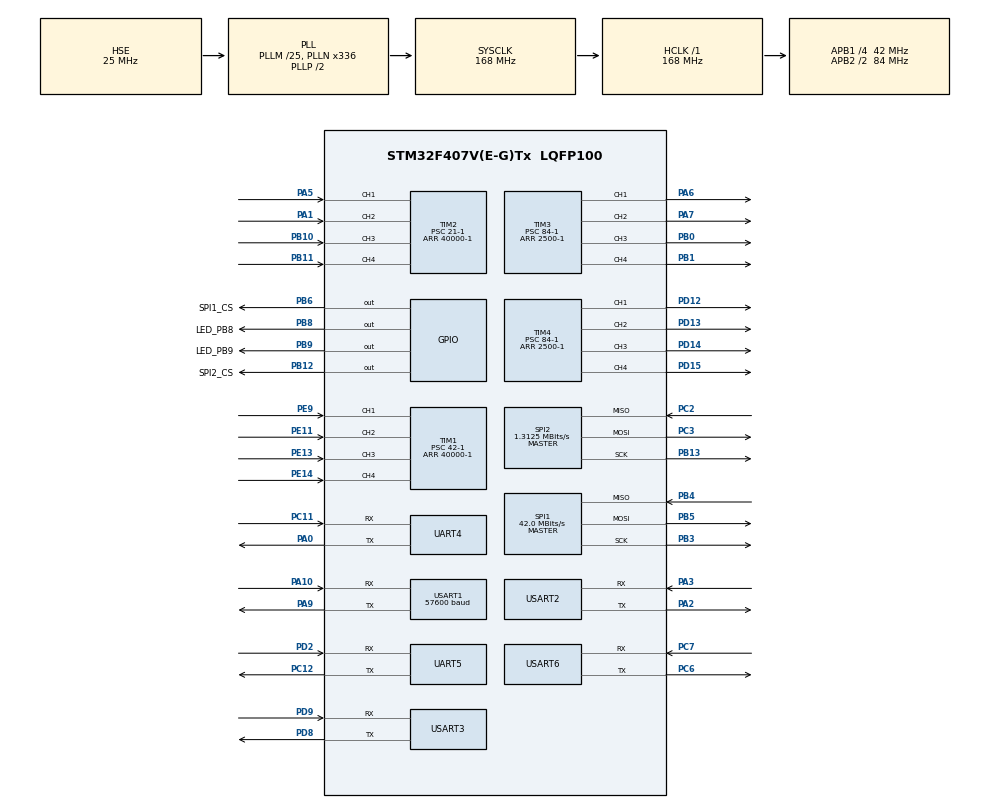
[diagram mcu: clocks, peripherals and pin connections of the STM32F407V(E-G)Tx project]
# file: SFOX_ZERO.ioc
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Dma.Request0=SPI1_RX
Dma.Request1=SPI1_TX
Dma.Request2=USART3_TX
Dma.Request3=USART6_TX
Dma.Request4=UART4_TX
Dma.Request5=UART5_TX
Dma.Request6=USART1_TX
Dma.Request7=USART2_TX
Dma.SPI1_RX.0.Direction=DMA_PERIPH_TO_MEMORY
Dma.SPI1_RX.0.FIFOMode=DMA_FIFOMODE_DISABLE
Dma.SPI1_RX.0.Instance=DMA2_Stream0
Dma.SPI1_RX.0.MemDataAlignment=DMA_MDATAALIGN_BYTE
Dma.SPI1_RX.0.MemInc=DMA_MINC_ENABLE
Dma.SPI1_RX.0.Mode=DMA_NORMAL
Dma.SPI1_RX.0.PeriphDataAlignment=DMA_PDATAALIGN_BYTE
Dma.SPI1_RX.0.PeriphInc=DMA_PINC_DISABLE
Dma.SPI1_RX.0.Priority=DMA_PRIORITY_HIGH
Dma.SPI1_TX.1.Direction=DMA_MEMORY_TO_PERIPH
Dma.SPI1_TX.1.FIFOMode=DMA_FIFOMODE_DISABLE
Dma.SPI1_TX.1.Instance=DMA2_Stream3
Dma.SPI1_TX.1.MemDataAlignment=DMA_MDATAALIGN_BYTE
Dma.SPI1_TX.1.MemInc=DMA_MINC_ENABLE
Dma.SPI1_TX.1.Mode=DMA_NORMAL
Dma.SPI1_TX.1.PeriphDataAlignment=DMA_PDATAALIGN_BYTE
Dma.SPI1_TX.1.PeriphInc=DMA_PINC_DISABLE
Dma.SPI1_TX.1.Priority=DMA_PRIORITY_LOW
Dma.UART4_TX.4.Direction=DMA_MEMORY_TO_PERIPH
Dma.UART4_TX.4.FIFOMode=DMA_FIFOMODE_DISABLE
Dma.UART4_TX.4.Instance=DMA1_Stream4
Dma.UART4_TX.4.MemDataAlignment=DMA_MDATAALIGN_BYTE
Dma.UART4_TX.4.MemInc=DMA_MINC_ENABLE
Dma.UART4_TX.4.Mode=DMA_NORMAL
Dma.UART4_TX.4.PeriphDataAlignment=DMA_PDATAALIGN_BYTE
Dma.UART4_TX.4.PeriphInc=DMA_PINC_DISABLE
Dma.UART4_TX.4.Priority=DMA_PRIORITY_LOW
Dma.UART5_TX.5.Direction=DMA_MEMORY_TO_PERIPH
Dma.UART5_TX.5.FIFOMode=DMA_FIFOMODE_DISABLE
Dma.UART5_TX.5.Instance=DMA1_Stream7
Dma.UART5_TX.5.MemDataAlignment=DMA_MDATAALIGN_BYTE
Dma.UART5_TX.5.MemInc=DMA_MINC_ENABLE
Dma.UART5_TX.5.Mode=DMA_NORMAL
Dma.UART5_TX.5.PeriphDataAlignment=DMA_PDATAALIGN_BYTE
Dma.UART5_TX.5.PeriphInc=DMA_PINC_DISABLE
Dma.UART5_TX.5.Priority=DMA_PRIORITY_LOW
Dma.USART1_TX.6.Direction=DMA_MEMORY_TO_PERIPH
Dma.USART1_TX.6.FIFOMode=DMA_FIFOMODE_DISABLE
Dma.USART1_TX.6.Instance=DMA2_Stream7
Dma.USART1_TX.6.MemDataAlignment=DMA_MDATAALIGN_BYTE
Dma.USART1_TX.6.MemInc=DMA_MINC_ENABLE
Dma.USART1_TX.6.Mode=DMA_NORMAL
Dma.USART1_TX.6.PeriphDataAlignment=DMA_PDATAALIGN_BYTE
Dma.USART1_TX.6.PeriphInc=DMA_PINC_DISABLE
Dma.USART1_TX.6.Priority=DMA_PRIORITY_LOW
Dma.USART2_TX.7.Direction=DMA_MEMORY_TO_PERIPH
Dma.USART2_TX.7.FIFOMode=DMA_FIFOMODE_DISABLE
Dma.USART2_TX.7.Instance=DMA1_Stream6
Dma.USART2_TX.7.MemDataAlignment=DMA_MDATAALIGN_BYTE
Dma.USART2_TX.7.MemInc=DMA_MINC_ENABLE
Dma.USART2_TX.7.Mode=DMA_NORMAL
Dma.USART2_TX.7.PeriphDataAlignment=DMA_PDATAALIGN_BYTE
Dma.USART2_TX.7.PeriphInc=DMA_PINC_DISABLE
Dma.USART2_TX.7.Priority=DMA_PRIORITY_LOW
Dma.USART3_TX.2.Direction=DMA_MEMORY_TO_PERIPH
Dma.USART3_TX.2.FIFOMode=DMA_FIFOMODE_DISABLE
Dma.USART3_TX.2.Instance=DMA1_Stream3
Dma.USART3_TX.2.MemDataAlignment=DMA_MDATAALIGN_BYTE
Dma.USART3_TX.2.MemInc=DMA_MINC_ENABLE
Dma.USART3_TX.2.Mode=DMA_NORMAL
Dma.USART3_TX.2.PeriphDataAlignment=DMA_PDATAALIGN_BYTE
Dma.USART3_TX.2.PeriphInc=DMA_PINC_DISABLE
Dma.USART3_TX.2.Priority=DMA_PRIORITY_LOW
Dma.USART6_TX.3.Direction=DMA_MEMORY_TO_PERIPH
Dma.USART6_TX.3.FIFOMode=DMA_FIFOMODE_DISABLE
Dma.USART6_TX.3.Instance=DMA2_Stream6
Dma.USART6_TX.3.MemDataAlignment=DMA_MDATAALIGN_BYTE
Dma.USART6_TX.3.MemInc=DMA_MINC_ENABLE
Dma.USART6_TX.3.Mode=DMA_NORMAL
Dma.USART6_TX.3.PeriphDataAlignment=DMA_PDATAALIGN_BYTE
Dma.USART6_TX.3.PeriphInc=DMA_PINC_DISABLE
Dma.USART6_TX.3.Priority=DMA_PRIORITY_LOW
FREERTOS.BinarySemaphores01=myBinarySem01MPU9250GyroAccCalibrateOffset,Dynamic,NULL;myBinarySem02LED1ON,Dynamic,NULL;myBinarySem03LED2ON,Dynamic,NULL;myBinarySem05LED1Pulsate,Dynamic,NULL;myBinarySem06LED2Pulsate,Dynamic,NULL;myBinarySem04MPU9250MagCalibrate,Dynamic,NULL;myBinarySem07GPSUpdate,Dynamic,NULL
FREERTOS.INCLUDE_vTaskDelayUntil=1
FREERTOS.Queues01=myQueue02GPSM8NToIns,1,uint32_t,0,Dynamic,NULL,NULL
FREERTOS.Tasks01=defaultTask,-3,128,StartDefaultTask,Default,NULL,Dynamic,NULL,NULL;myTask02Normal,0,512,StartTask02Normal,Default,NULL,Dynamic,NULL,NULL;myTask01RealTim,1,2048,StartTask01RealTime,Default,NULL,Dynamic,NULL,NULL;myTask03LED,-3,128,StartTask03LED,Default,NULL,Dynamic,NULL,NULL;myTask04COM,-3,128,StartTask04COM,Default,NULL,Dynamic,NULL,NULL;myTask05IMU,2,128,StartTask05IMU,Default,NULL,Dynamic,NULL,NULL;myTask06IMUAUX,-3,128,StartTask06IMUAUX,Default,NULL,Dynamic,NULL,NULL
FREERTOS.configUSE_COUNTING_SEMAPHORES=1
FREERTOS.configUSE_IDLE_HOOK=1
FREERTOS.configUSE_TICK_HOOK=1
Mcu.Family=STM32F4
Mcu.Name=STM32F407V(E-G)Tx
Mcu.Package=LQFP100
NVIC.DMA1_Stream3_IRQn=true\:5\:0\:false\:false\:true\:true\:false
NVIC.DMA1_Stream4_IRQn=true\:5\:0\:false\:false\:true\:true\:false
NVIC.DMA1_Stream6_IRQn=true\:5\:0\:false\:false\:true\:true\:false
NVIC.DMA1_Stream7_IRQn=true\:5\:0\:false\:false\:true\:true\:false
NVIC.DMA2_Stream0_IRQn=true\:5\:0\:false\:false\:true\:true\:false
NVIC.DMA2_Stream3_IRQn=true\:5\:0\:false\:false\:true\:true\:false
NVIC.DMA2_Stream6_IRQn=true\:5\:0\:false\:false\:true\:true\:false
NVIC.DMA2_Stream7_IRQn=true\:5\:0\:false\:false\:true\:true\:false
NVIC.PriorityGroup=NVIC_PRIORITYGROUP_4
NVIC.SPI1_IRQn=true\:5\:0\:false\:false\:true\:true\:true
NVIC.TIM1_CC_IRQn=true\:5\:0\:false\:false\:true\:true\:true
NVIC.TIM2_IRQn=true\:5\:0\:false\:false\:true\:true\:true
NVIC.TIM8_UP_TIM13_IRQn=true\:0\:0\:false\:false\:true\:false\:false
NVIC.TimeBase=TIM8_UP_TIM13_IRQn
NVIC.TimeBaseIP=TIM8
NVIC.UART4_IRQn=true\:5\:0\:false\:false\:true\:true\:true
NVIC.UART5_IRQn=true\:5\:0\:false\:false\:true\:true\:true
NVIC.USART1_IRQn=true\:5\:0\:true\:false\:true\:true\:true
NVIC.USART2_IRQn=true\:5\:0\:false\:false\:true\:true\:true
NVIC.USART3_IRQn=true\:5\:0\:false\:false\:true\:true\:true
NVIC.USART6_IRQn=true\:5\:0\:false\:false\:true\:true\:true
PA0-WKUP.Mode=Asynchronous
PA0-WKUP.Signal=UART4_TX
PA1.GPIO_PuPd=GPIO_PULLDOWN
PA1.GPIO_Speed=GPIO_SPEED_FREQ_VERY_HIGH
PA1.Signal=S_TIM2_CH2
PA10.Mode=Asynchronous
PA10.Signal=USART1_RX
PA13.Mode=Serial_Wire
PA13.Signal=SYS_JTMS-SWDIO
PA14.Mode=Serial_Wire
PA14.Signal=SYS_JTCK-SWCLK
PA2.Mode=Asynchronous
PA2.Signal=USART2_TX
PA3.Mode=Asynchronous
PA3.Signal=USART2_RX
PA5.GPIO_PuPd=GPIO_PULLDOWN
PA5.GPIO_Speed=GPIO_SPEED_FREQ_VERY_HIGH
PA5.Signal=S_TIM2_CH1_ETR
PA6.GPIO_Speed=GPIO_SPEED_FREQ_VERY_HIGH
PA6.Signal=S_TIM3_CH1
PA7.GPIO_Speed=GPIO_SPEED_FREQ_VERY_HIGH
PA7.Signal=S_TIM3_CH2
PA9.Mode=Asynchronous
PA9.Signal=USART1_TX
PB0.GPIO_Speed=GPIO_SPEED_FREQ_VERY_HIGH
PB0.Signal=S_TIM3_CH3
PB1.GPIO_Speed=GPIO_SPEED_FREQ_VERY_HIGH
PB1.Signal=S_TIM3_CH4
PB10.GPIO_PuPd=GPIO_PULLDOWN
PB10.GPIO_Speed=GPIO_SPEED_FREQ_VERY_HIGH
PB10.Signal=S_TIM2_CH3
PB11.GPIO_PuPd=GPIO_PULLDOWN
PB11.GPIO_Speed=GPIO_SPEED_FREQ_VERY_HIGH
PB11.Signal=S_TIM2_CH4
PB12.GPIO_Label=SPI2_CS
PB12.Signal=GPIO_Output
PB13.Mode=Full_Duplex_Master
PB13.Signal=SPI2_SCK
PB3.Mode=Full_Duplex_Master
PB3.Signal=SPI1_SCK
PB4.Mode=Full_Duplex_Master
PB4.Signal=SPI1_MISO
PB5.Mode=Full_Duplex_Master
PB5.Signal=SPI1_MOSI
PB6.GPIO_Label=SPI1_CS
PB6.Signal=GPIO_Output
PB8.GPIO_Label=LED_PB8
PB8.Signal=GPIO_Output
PB9.GPIO_Label=LED_PB9
PB9.Signal=GPIO_Output
PC11.Mode=Asynchronous
PC11.Signal=UART4_RX
PC12.Mode=Asynchronous
PC12.Signal=UART5_TX
PC2.Mode=Full_Duplex_Master
PC2.Signal=SPI2_MISO
PC3.Mode=Full_Duplex_Master
PC3.Signal=SPI2_MOSI
PC6.Mode=Asynchronous
PC6.Signal=USART6_TX
PC7.Mode=Asynchronous
PC7.Signal=USART6_RX
PD12.Signal=S_TIM4_CH1
PD13.Signal=S_TIM4_CH2
PD14.Signal=S_TIM4_CH3
PD15.Signal=S_TIM4_CH4
PD2.Mode=Asynchronous
PD2.Signal=UART5_RX
PD8.Mode=Asynchronous
PD8.Signal=USART3_TX
PD9.Mode=Asynchronous
PD9.Signal=USART3_RX
PE11.GPIO_PuPd=GPIO_PULLDOWN
PE11.GPIO_Speed=GPIO_SPEED_FREQ_VERY_HIGH
PE11.Signal=S_TIM1_CH2
PE13.GPIO_PuPd=GPIO_PULLDOWN
PE13.GPIO_Speed=GPIO_SPEED_FREQ_VERY_HIGH
PE13.Signal=S_TIM1_CH3
PE14.GPIO_PuPd=GPIO_PULLDOWN
PE14.GPIO_Speed=GPIO_SPEED_FREQ_VERY_HIGH
PE14.Signal=S_TIM1_CH4
PE9.GPIO_PuPd=GPIO_PULLDOWN
PE9.GPIO_Speed=GPIO_SPEED_FREQ_VERY_HIGH
PE9.Signal=S_TIM1_CH1
PH0-OSC_IN.Mode=HSE-External-Oscillator
PH0-OSC_IN.Signal=RCC_OSC_IN
PH1-OSC_OUT.Mode=HSE-External-Oscillator
PH1-OSC_OUT.Signal=RCC_OSC_OUT
ProjectManager.HeapSize=0x15000
ProjectManager.StackSize=0x600
ProjectManager.TargetToolchain=EWARM
RCC.48MHZClocksFreq_Value=84000000
RCC.AHBFreq_Value=168000000
RCC.APB1CLKDivider=RCC_HCLK_DIV4
RCC.APB1Freq_Value=42000000
RCC.APB1TimFreq_Value=84000000
RCC.APB2CLKDivider=RCC_HCLK_DIV2
RCC.APB2Freq_Value=84000000
RCC.APB2TimFreq_Value=168000000
RCC.CortexFreq_Value=168000000
RCC.EnbaleCSS=true
RCC.HCLKFreq_Value=168000000
RCC.HSE_VALUE=25000000
RCC.HSI_VALUE=16000000
RCC.LSE_VALUE=32768
RCC.PLLM=25
RCC.PLLN=336
RCC.PLLSourceVirtual=RCC_PLLSOURCE_HSE
RCC.SYSCLKFreq_VALUE=168000000
RCC.SYSCLKSource=RCC_SYSCLKSOURCE_PLLCLK
RCC.VCOOutputFreq_Value=336000000
SH.S_TIM1_CH1.0=TIM1_CH1,Input_Capture1_from_TI1
SH.S_TIM1_CH2.0=TIM1_CH2,Input_Capture2_from_TI2
SH.S_TIM1_CH3.0=TIM1_CH3,Input_Capture3_from_TI3
SH.S_TIM1_CH4.0=TIM1_CH4,Input_Capture4_from_TI4
SH.S_TIM2_CH1_ETR.0=TIM2_CH1,Input_Capture1_from_TI1
SH.S_TIM2_CH2.0=TIM2_CH2,Input_Capture2_from_TI2
SH.S_TIM2_CH3.0=TIM2_CH3,Input_Capture3_from_TI3
SH.S_TIM2_CH4.0=TIM2_CH4,Input_Capture4_from_TI4
SH.S_TIM3_CH1.0=TIM3_CH1,PWM Generation1 CH1
SH.S_TIM3_CH2.0=TIM3_CH2,PWM Generation2 CH2
SH.S_TIM3_CH3.0=TIM3_CH3,PWM Generation3 CH3
SH.S_TIM3_CH4.0=TIM3_CH4,PWM Generation4 CH4
SH.S_TIM4_CH1.0=TIM4_CH1,PWM Generation1 CH1
SH.S_TIM4_CH2.0=TIM4_CH2,PWM Generation2 CH2
SH.S_TIM4_CH3.0=TIM4_CH3,PWM Generation3 CH3
SH.S_TIM4_CH4.0=TIM4_CH4,PWM Generation4 CH4
SPI1.BaudRatePrescaler=SPI_BAUDRATEPRESCALER_2
SPI1.CalculateBaudRate=42.0 MBits/s
SPI1.Direction=SPI_DIRECTION_2LINES
SPI1.Mode=SPI_MODE_MASTER
SPI1.VirtualType=VM_MASTER
SPI2.BaudRatePrescaler=SPI_BAUDRATEPRESCALER_32
SPI2.CalculateBaudRate=1.3125 MBits/s
SPI2.Direction=SPI_DIRECTION_2LINES
SPI2.Mode=SPI_MODE_MASTER
SPI2.VirtualType=VM_MASTER
TIM1.Channel-Input_Capture1_from_TI1=TIM_CHANNEL_1
TIM1.Channel-Input_Capture2_from_TI2=TIM_CHANNEL_2
TIM1.Channel-Input_Capture3_from_TI3=TIM_CHANNEL_3
TIM1.Channel-Input_Capture4_from_TI4=TIM_CHANNEL_4
TIM1.ICPolarity_CH1=TIM_INPUTCHANNELPOLARITY_BOTHEDGE
TIM1.ICPolarity_CH2=TIM_INPUTCHANNELPOLARITY_BOTHEDGE
TIM1.ICPolarity_CH3=TIM_INPUTCHANNELPOLARITY_BOTHEDGE
TIM1.ICPolarity_CH4=TIM_INPUTCHANNELPOLARITY_BOTHEDGE
TIM1.Period=40000-1
TIM1.Prescaler=42-1
TIM2.Channel-Input_Capture1_from_TI1=TIM_CHANNEL_1
TIM2.Channel-Input_Capture2_from_TI2=TIM_CHANNEL_2
TIM2.Channel-Input_Capture3_from_TI3=TIM_CHANNEL_3
TIM2.Channel-Input_Capture4_from_TI4=TIM_CHANNEL_4
TIM2.ICPolarity_CH1=TIM_INPUTCHANNELPOLARITY_BOTHEDGE
TIM2.ICPolarity_CH2=TIM_INPUTCHANNELPOLARITY_BOTHEDGE
TIM2.ICPolarity_CH3=TIM_INPUTCHANNELPOLARITY_BOTHEDGE
TIM2.ICPolarity_CH4=TIM_INPUTCHANNELPOLARITY_BOTHEDGE
TIM2.Period=40000-1
TIM2.Prescaler=21-1
TIM3.Channel-PWM\ Generation1\ CH1=TIM_CHANNEL_1
TIM3.Channel-PWM\ Generation2\ CH2=TIM_CHANNEL_2
TIM3.Channel-PWM\ Generation3\ CH3=TIM_CHANNEL_3
TIM3.Channel-PWM\ Generation4\ CH4=TIM_CHANNEL_4
TIM3.Period=2500-1
TIM3.Prescaler=84-1
TIM4.Channel-PWM\ Generation1\ CH1=TIM_CHANNEL_1
TIM4.Channel-PWM\ Generation2\ CH2=TIM_CHANNEL_2
TIM4.Channel-PWM\ Generation3\ CH3=TIM_CHANNEL_3
TIM4.Channel-PWM\ Generation4\ CH4=TIM_CHANNEL_4
TIM4.Period=2500-1
TIM4.Prescaler=84-1
UART4.VirtualMode=Asynchronous
UART5.VirtualMode=Asynchronous
USART1.BaudRate=57600
USART1.VirtualMode=VM_ASYNC
USART2.VirtualMode=VM_ASYNC
USART3.VirtualMode=VM_ASYNC
USART6.VirtualMode=VM_ASYNC
VP_FREERTOS_VS_ENABLE.Mode=Enabled
VP_SYS_VS_tim8.Mode=TIM8
board=SFOX_ZERO

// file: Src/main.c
/**
  ******************************************************************************
  * @file           : main.c
  * @brief          : Main program body
  ******************************************************************************
  * This notice applies to any and all portions of this file
  * that are not between comment pairs USER CODE BEGIN and
  * USER CODE END. Other portions of this file, whether
  * inserted by the user or by software development tools
  * are owned by their respective copyright owners.
  *
  * Copyright (c) 2018 STMicroelectronics International N.V.
  * All rights reserved.
  *
  * Redistribution and use in source and binary forms, with or without
  * modification, are permitted, provided that the following conditions are met:
  *
  * 1. Redistribution of source code must retain the above copyright notice,
  *    this list of conditions and the following disclaimer.
  * 2. Redistributions in binary form must reproduce the above copyright notice,
  *    this list of conditions and the following disclaimer in the documentation
  *    and/or other materials provided with the distribution.
  * 3. Neither the name of STMicroelectronics nor the names of other
  *    contributors to this software may be used to endorse or promote products
  *    derived from this software without specific written permission.
  * 4. This software, including modifications and/or derivative works of this
  *    software, must execute solely and exclusively on microcontroller or
  *    microprocessor devices manufactured by or for STMicroelectronics.
  * 5. Redistribution and use of this software other than as permitted under
  *    this license is void and will automatically terminate your rights under
  *    this license.
  *
  * THIS SOFTWARE IS PROVIDED BY STMICROELECTRONICS AND CONTRIBUTORS "AS IS"
  * AND ANY EXPRESS, IMPLIED OR STATUTORY WARRANTIES, INCLUDING, BUT NOT
  * LIMITED TO, THE IMPLIED WARRANTIES OF MERCHANTABILITY, FITNESS FOR A
  * PARTICULAR PURPOSE AND NON-INFRINGEMENT OF THIRD PARTY INTELLECTUAL PROPERTY
  * RIGHTS ARE DISCLAIMED TO THE FULLEST EXTENT PERMITTED BY LAW. IN NO EVENT
  * SHALL STMICROELECTRONICS OR CONTRIBUTORS BE LIABLE FOR ANY DIRECT, INDIRECT,
  * INCIDENTAL, SPECIAL, EXEMPLARY, OR CONSEQUENTIAL DAMAGES (INCLUDING, BUT NOT
  * LIMITED TO, PROCUREMENT OF SUBSTITUTE GOODS OR SERVICES; LOSS OF USE, DATA,
  * OR PROFITS; OR BUSINESS INTERRUPTION) HOWEVER CAUSED AND ON ANY THEORY OF
  * LIABILITY, WHETHER IN CONTRACT, STRICT LIABILITY, OR TORT (INCLUDING
  * NEGLIGENCE OR OTHERWISE) ARISING IN ANY WAY OUT OF THE USE OF THIS SOFTWARE,
  * EVEN IF ADVISED OF THE POSSIBILITY OF SUCH DAMAGE.
  *
  ******************************************************************************
  */
#include "main.h"
#include "stm32f4xx_hal.h"
#include "cmsis_os.h"
#include "dma.h"
#include "spi.h"
#include "tim.h"
#include "usart.h"
#include "gpio.h"

/* USER CODE BEGIN Includes */
#include "mpu9250.h"
#include "ms5803.h"
#include "RC_PWM.h"
#include "app_ano.h"
#include "usart_cfg.h"
#include "app_led.h"
#include "flash_on_chip.h"
#include "motor_pwm.h"
/* USER CODE END Includes */

/* USER CODE BEGIN PV */
/* Private variables ---------------------------------------------------------*/

/* USER CODE END PV */

void SystemClock_Config(void);
void MX_FREERTOS_Init(void);

/* USER CODE BEGIN PFP */
/* Private function prototypes -----------------------------------------------*/

/* USER CODE END PFP */

int main(void)
{

  /* MCU Configuration----------------------------------------------------------*/

  /* Reset of all peripherals, Initializes the Flash interface and the Systick. */
  HAL_Init();

  /* Configure the system clock */
  SystemClock_Config();

  /* Initialize all configured peripherals */
  MX_GPIO_Init();
  MX_DMA_Init();
  MX_SPI1_Init();
  MX_SPI2_Init();
  MX_TIM1_Init();
  MX_TIM2_Init();
  MX_TIM3_Init();
  MX_TIM4_Init();
  MX_UART4_Init();
  MX_UART5_Init();
  MX_USART1_UART_Init();
  MX_USART2_UART_Init();
  MX_USART3_UART_Init();
  MX_USART6_UART_Init();
  /* USER CODE BEGIN 2 */
  //初始化遥控器接收
  RC_PWM_init();
  //电调校准
  motor_esc_init();
  //MPU9250
  MPU9250_Init(&hspi1);
  //气压计初始化
  MS5803_Init(&hspi2);

  //app_ano_parameter_init();
  flash_read_parameters();
  USART_init();
  led_init();
  /* USER CODE END 2 */

  /* Call init function for freertos objects (in freertos.c) */
  MX_FREERTOS_Init();

  /* Start scheduler */
  osKernelStart();

  /* We should never get here as control is now taken by the scheduler */

  /* Infinite loop */
  while (1)
  {

  }

}

void SystemClock_Config(void)
{

  RCC_OscInitTypeDef RCC_OscInitStruct;
  RCC_ClkInitTypeDef RCC_ClkInitStruct;

    /**Configure the main internal regulator output voltage
    */
  __HAL_RCC_PWR_CLK_ENABLE();

  __HAL_PWR_VOLTAGESCALING_CONFIG(PWR_REGULATOR_VOLTAGE_SCALE1);

    /**Initializes the CPU, AHB and APB busses clocks
    */
  RCC_OscInitStruct.OscillatorType = RCC_OSCILLATORTYPE_HSE;
  RCC_OscInitStruct.HSEState = RCC_HSE_ON;
  RCC_OscInitStruct.PLL.PLLState = RCC_PLL_ON;
  RCC_OscInitStruct.PLL.PLLSource = RCC_PLLSOURCE_HSE;
  RCC_OscInitStruct.PLL.PLLM = 25;
  RCC_OscInitStruct.PLL.PLLN = 336;
  RCC_OscInitStruct.PLL.PLLP = RCC_PLLP_DIV2;
  RCC_OscInitStruct.PLL.PLLQ = 4;
  if (HAL_RCC_OscConfig(&RCC_OscInitStruct) != HAL_OK)
  {
    _Error_Handler(__FILE__, __LINE__);
  }

    /**Initializes the CPU, AHB and APB busses clocks
    */
  RCC_ClkInitStruct.ClockType = RCC_CLOCKTYPE_HCLK|RCC_CLOCKTYPE_SYSCLK
                              |RCC_CLOCKTYPE_PCLK1|RCC_CLOCKTYPE_PCLK2;
  RCC_ClkInitStruct.SYSCLKSource = RCC_SYSCLKSOURCE_PLLCLK;
  RCC_ClkInitStruct.AHBCLKDivider = RCC_SYSCLK_DIV1;
  RCC_ClkInitStruct.APB1CLKDivider = RCC_HCLK_DIV4;
  RCC_ClkInitStruct.APB2CLKDivider = RCC_HCLK_DIV2;

  if (HAL_RCC_ClockConfig(&RCC_ClkInitStruct, FLASH_LATENCY_5) != HAL_OK)
  {
    _Error_Handler(__FILE__, __LINE__);
  }

    /**Enables the Clock Security System
    */
  HAL_RCC_EnableCSS();

    /**Configure the Systick interrupt time
    */
  HAL_SYSTICK_Config(HAL_RCC_GetHCLKFreq()/1000);

    /**Configure the Systick
    */
  HAL_SYSTICK_CLKSourceConfig(SYSTICK_CLKSOURCE_HCLK);

  /* SysTick_IRQn interrupt configuration */
  HAL_NVIC_SetPriority(SysTick_IRQn, 15, 0);
}

void HAL_TIM_PeriodElapsedCallback(TIM_HandleTypeDef *htim)
{
  if (htim->Instance == TIM8) {
    HAL_IncTick();
  }
}

void _Error_Handler(char *file, int line)
{
  while(1)
  {
  }
}

/************************ (C) COPYRIGHT STMicroelectronics *****END OF FILE****/

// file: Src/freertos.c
/**
  ******************************************************************************
  * File Name          : freertos.c
  * Description        : Code for freertos applications
  ******************************************************************************
  * This notice applies to any and all portions of this file
  * that are not between comment pairs USER CODE BEGIN and
  * USER CODE END. Other portions of this file, whether
  * inserted by the user or by software development tools
  * are owned by their respective copyright owners.
  *
  * Copyright (c) 2018 STMicroelectronics International N.V.
  * All rights reserved.
  *
  * Redistribution and use in source and binary forms, with or without
  * modification, are permitted, provided that the following conditions are met:
  *
  * 1. Redistribution of source code must retain the above copyright notice,
  *    this list of conditions and the following disclaimer.
  * 2. Redistributions in binary form must reproduce the above copyright notice,
  *    this list of conditions and the following disclaimer in the documentation
  *    and/or other materials provided with the distribution.
  * 3. Neither the name of STMicroelectronics nor the names of other
  *    contributors to this software may be used to endorse or promote products
  *    derived from this software without specific written permission.
  * 4. This software, including modifications and/or derivative works of this
  *    software, must execute solely and exclusively on microcontroller or
  *    microprocessor devices manufactured by or for STMicroelectronics.
  * 5. Redistribution and use of this software other than as permitted under
  *    this license is void and will automatically terminate your rights under
  *    this license.
  *
  * THIS SOFTWARE IS PROVIDED BY STMICROELECTRONICS AND CONTRIBUTORS "AS IS"
  * AND ANY EXPRESS, IMPLIED OR STATUTORY WARRANTIES, INCLUDING, BUT NOT
  * LIMITED TO, THE IMPLIED WARRANTIES OF MERCHANTABILITY, FITNESS FOR A
  * PARTICULAR PURPOSE AND NON-INFRINGEMENT OF THIRD PARTY INTELLECTUAL PROPERTY
  * RIGHTS ARE DISCLAIMED TO THE FULLEST EXTENT PERMITTED BY LAW. IN NO EVENT
  * SHALL STMICROELECTRONICS OR CONTRIBUTORS BE LIABLE FOR ANY DIRECT, INDIRECT,
  * INCIDENTAL, SPECIAL, EXEMPLARY, OR CONSEQUENTIAL DAMAGES (INCLUDING, BUT NOT
  * LIMITED TO, PROCUREMENT OF SUBSTITUTE GOODS OR SERVICES; LOSS OF USE, DATA,
  * OR PROFITS; OR BUSINESS INTERRUPTION) HOWEVER CAUSED AND ON ANY THEORY OF
  * LIABILITY, WHETHER IN CONTRACT, STRICT LIABILITY, OR TORT (INCLUDING
  * NEGLIGENCE OR OTHERWISE) ARISING IN ANY WAY OUT OF THE USE OF THIS SOFTWARE,
  * EVEN IF ADVISED OF THE POSSIBILITY OF SUCH DAMAGE.
  *
  ******************************************************************************
  */

#include "FreeRTOS.h"
#include "task.h"
#include "cmsis_os.h"

/* USER CODE BEGIN Includes */
#include "stm32f4xx_hal.h"
#include "app_ano.h"
#include "mpu9250.h"
#include "ms5803.h"
#include "motor_pwm.h"
#include "app_led.h"
// #include "app_ins.h"
#include "time.h"
#include "app_ctrl.h"
#include "app_ros.h"
#include "app_uwb.h"
#include "app_ins_ekf_quaternion.h"
#include "gps_m8n.h"
/* USER CODE END Includes */

osThreadId defaultTaskHandle;
osThreadId myTask02NormalHandle;
osThreadId myTask01RealTimHandle;
osThreadId myTask03LEDHandle;
osThreadId myTask04COMHandle;
osThreadId myTask05IMUHandle;
osThreadId myTask06IMUAUXHandle;
osMessageQId myQueue02GPSM8NToInsHandle;
osSemaphoreId myBinarySem01MPU9250GyroAccCalibrateOffsetHandle;
osSemaphoreId myBinarySem02LED1ONHandle;
osSemaphoreId myBinarySem03LED2ONHandle;
osSemaphoreId myBinarySem05LED1PulsateHandle;
osSemaphoreId myBinarySem06LED2PulsateHandle;
osSemaphoreId myBinarySem04MPU9250MagCalibrateHandle;
osSemaphoreId myBinarySem07GPSUpdateHandle;

void StartDefaultTask(void const * argument);
void StartTask02Normal(void const * argument);
void StartTask01RealTime(void const * argument);
void StartTask03LED(void const * argument);
void StartTask04COM(void const * argument);
void StartTask05IMU(void const * argument);
void StartTask06IMUAUX(void const * argument);

void MX_FREERTOS_Init(void); /* (MISRA C 2004 rule 8.1) */

/* Hook prototypes */
void vApplicationIdleHook(void);
void vApplicationTickHook(void);

/* USER CODE BEGIN 2 */
__weak void vApplicationIdleHook( void )
{
   /* vApplicationIdleHook() will only be called if configUSE_IDLE_HOOK is set
   to 1 in FreeRTOSConfig.h. It will be called on each iteration of the idle
   task. It is essential that code added to this hook function never attempts
   to block in any way (for example, call xQueueReceive() with a block time
   specified, or call vTaskDelay()). If the application makes use of the
   vTaskDelete() API function (as this demo application does) then it is also
   important that vApplicationIdleHook() is permitted to return to its calling
   function, because it is the responsibility of the idle task to clean up
   memory allocated by the kernel to any task that has since been deleted. */
}
/* USER CODE END 2 */

/* USER CODE BEGIN 3 */
__weak void vApplicationTickHook( void )
{
   /* This function will be called by each tick interrupt if
   configUSE_TICK_HOOK is set to 1 in FreeRTOSConfig.h. User code can be
   added here, but the tick hook is called from an interrupt context, so
   code must not attempt to block, and only the interrupt safe FreeRTOS API
   functions can be used (those that end in FromISR()). */
}
/* USER CODE END 3 */

/* Init FreeRTOS */

void MX_FREERTOS_Init(void) {

  /* Create the semaphores(s) */
  /* definition and creation of myBinarySem01MPU9250GyroAccCalibrateOffset */
  osSemaphoreDef(myBinarySem01MPU9250GyroAccCalibrateOffset);
  myBinarySem01MPU9250GyroAccCalibrateOffsetHandle = osSemaphoreCreate(osSemaphore(myBinarySem01MPU9250GyroAccCalibrateOffset), 1);

  /* definition and creation of myBinarySem02LED1ON */
  osSemaphoreDef(myBinarySem02LED1ON);
  myBinarySem02LED1ONHandle = osSemaphoreCreate(osSemaphore(myBinarySem02LED1ON), 1);

  /* definition and creation of myBinarySem03LED2ON */
  osSemaphoreDef(myBinarySem03LED2ON);
  myBinarySem03LED2ONHandle = osSemaphoreCreate(osSemaphore(myBinarySem03LED2ON), 1);

  /* definition and creation of myBinarySem05LED1Pulsate */
  osSemaphoreDef(myBinarySem05LED1Pulsate);
  myBinarySem05LED1PulsateHandle = osSemaphoreCreate(osSemaphore(myBinarySem05LED1Pulsate), 1);

  /* definition and creation of myBinarySem06LED2Pulsate */
  osSemaphoreDef(myBinarySem06LED2Pulsate);
  myBinarySem06LED2PulsateHandle = osSemaphoreCreate(osSemaphore(myBinarySem06LED2Pulsate), 1);

  /* definition and creation of myBinarySem04MPU9250MagCalibrate */
  osSemaphoreDef(myBinarySem04MPU9250MagCalibrate);
  myBinarySem04MPU9250MagCalibrateHandle = osSemaphoreCreate(osSemaphore(myBinarySem04MPU9250MagCalibrate), 1);

  /* definition and creation of myBinarySem07GPSUpdate */
  osSemaphoreDef(myBinarySem07GPSUpdate);
  myBinarySem07GPSUpdateHandle = osSemaphoreCreate(osSemaphore(myBinarySem07GPSUpdate), 1);

  /* USER CODE BEGIN RTOS_SEMAPHORES */
  /* add semaphores, ... */
  osSemaphoreWait(myBinarySem01MPU9250GyroAccCalibrateOffsetHandle,0);
  osSemaphoreWait(myBinarySem02LED1ONHandle,0);
  osSemaphoreWait(myBinarySem03LED2ONHandle,0);
  osSemaphoreWait(myBinarySem04MPU9250MagCalibrateHandle,0);
  osSemaphoreWait(myBinarySem05LED1PulsateHandle,0);
  osSemaphoreWait(myBinarySem05LED1PulsateHandle,0);
  /* USER CODE END RTOS_SEMAPHORES */

  /* Create the thread(s) */
  /* definition and creation of defaultTask */
  osThreadDef(defaultTask, StartDefaultTask, osPriorityIdle, 0, 128);
  defaultTaskHandle = osThreadCreate(osThread(defaultTask), NULL);

  /* definition and creation of myTask02Normal */
  osThreadDef(myTask02Normal, StartTask02Normal, osPriorityNormal, 0, 512);
  myTask02NormalHandle = osThreadCreate(osThread(myTask02Normal), NULL);

  /* definition and creation of myTask01RealTim */
  osThreadDef(myTask01RealTim, StartTask01RealTime, osPriorityAboveNormal, 0, 2048);
  myTask01RealTimHandle = osThreadCreate(osThread(myTask01RealTim), NULL);

  /* definition and creation of myTask03LED */
  osThreadDef(myTask03LED, StartTask03LED, osPriorityIdle, 0, 128);
  myTask03LEDHandle = osThreadCreate(osThread(myTask03LED), NULL);

  /* definition and creation of myTask04COM */
  osThreadDef(myTask04COM, StartTask04COM, osPriorityIdle, 0, 128);
  myTask04COMHandle = osThreadCreate(osThread(myTask04COM), NULL);

  /* definition and creation of myTask05IMU */
  osThreadDef(myTask05IMU, StartTask05IMU, osPriorityHigh, 0, 128);
  myTask05IMUHandle = osThreadCreate(osThread(myTask05IMU), NULL);

  /* definition and creation of myTask06IMUAUX */
  osThreadDef(myTask06IMUAUX, StartTask06IMUAUX, osPriorityIdle, 0, 128);
  myTask06IMUAUXHandle = osThreadCreate(osThread(myTask06IMUAUX), NULL);

  /* Create the queue(s) */
  /* definition and creation of myQueue02GPSM8NToIns */
/* what about the sizeof here??? cd native code */
  osMessageQDef(myQueue02GPSM8NToIns, 1, uint32_t);
  myQueue02GPSM8NToInsHandle = osMessageCreate(osMessageQ(myQueue02GPSM8NToIns), NULL);

}

/* StartDefaultTask function */
void StartDefaultTask(void const * argument)
{

  for(;;)
  {
    osDelay(1);
  }
}

/* StartTask02Normal function */
void StartTask02Normal(void const * argument)
{
  /* USER CODE BEGIN StartTask02Normal */
  /* Infinite loop */
  for(;;)
  {
    //时间统计
    time_consume[normal_task_time_index][0] = get_sys_time_us();
    det_t_s.det_t_normal_task_s = get_cycle_time(normal_task_time_index);
    //GPS
    det_t_s.det_t_gps_m8n_s = get_cycle_time(gps_m8n_task_time_index);
    gps_m8n_thread(det_t_s.det_t_gps_m8n_s);
    //
    MS5803_process();
    //接收UWB信息
    //app_uwb_thread();
    //
    time_consume[normal_task_time_index][1] = get_sys_time_us();
    normal_time_consume_us = time_consume[normal_task_time_index][1] - time_consume[normal_task_time_index][0];
    osDelay(10-(int)(normal_time_consume_us*0.001f));
  }
  /* USER CODE END StartTask02Normal */
}

/* StartTask01RealTime function */
void StartTask01RealTime(void const * argument)
{
  /* USER CODE BEGIN StartTask01RealTime */
  /* Infinite loop */
  for(;;)
  {
    //时间统计[
    time_consume[realtime_task_time_index][0] = get_sys_time_us();
    det_t_s.det_t_realtime_task_s = get_cycle_time(realtime_task_time_index);
    //导航解算任务
    det_t_s.det_t_app_ins_s = get_cycle_time(app_ins_time_index);
    app_ins_ekf_quaternion_thread(det_t_s.det_t_app_ins_s);
    //飞行控制任务
    det_t_s.det_t_app_ctrl_s = get_cycle_time(app_ctrl_time_index);
    //app_ctrl_thread(det_t_s.det_t_app_ctrl_s);
    //时间统计]
    time_consume[realtime_task_time_index][1] = get_sys_time_us();
    real_time_consume_us = time_consume[realtime_task_time_index][1] - time_consume[realtime_task_time_index][0];
    osDelay(8-(int)(real_time_consume_us*0.001f));
  }
  /* USER CODE END StartTask01RealTime */
}

/* StartTask03LED function */
void StartTask03LED(void const * argument)
{
  /* USER CODE BEGIN StartTask03LED */
  /* Infinite loop */
  for(;;)
  {
    app_led_thread();
    osDelay(1);
  }
  /* USER CODE END StartTask03LED */
}

/* StartTask04COM function */
void StartTask04COM(void const * argument)
{
  /* USER CODE BEGIN StartTask04COM */
  /* Infinite loop */
  for(;;)
  {
    //
    ano_process(0);
    //与树莓派ROS通信
    //app_ros_thread();
    osDelay(20);
  }
  /* USER CODE END StartTask04COM */
}

/* StartTask05IMU function */
void StartTask05IMU(void const * argument)
{
  /* USER CODE BEGIN StartTask05IMU */
  /* Infinite loop */
  for(;;)
  {
    time_consume[mpu9250_process_time_index][0] = get_sys_time_us();
    //惯导读取任务
    det_t_s.det_t_mpu9250_process_s = get_cycle_time(mpu9250_process_time_index);
    MPU9250_process();
    time_consume[mpu9250_process_time_index][1] = get_sys_time_us();
    mpu9250_process_time_consume_us = time_consume[mpu9250_process_time_index][1] - time_consume[mpu9250_process_time_index][0];
    osDelay(1-(int)(mpu9250_process_time_consume_us*0.001f));
  }
  /* USER CODE END StartTask05IMU */
}

/* StartTask06IMUAUX function */
void StartTask06IMUAUX(void const * argument)
{
  /* USER CODE BEGIN StartTask06IMUAUX */
  /* Infinite loop */
  for(;;)
  {
    MPU9250_Calibrate();
    osDelay(10);
  }
  /* USER CODE END StartTask06IMUAUX */
}

/************************ (C) COPYRIGHT STMicroelectronics *****END OF FILE****/
